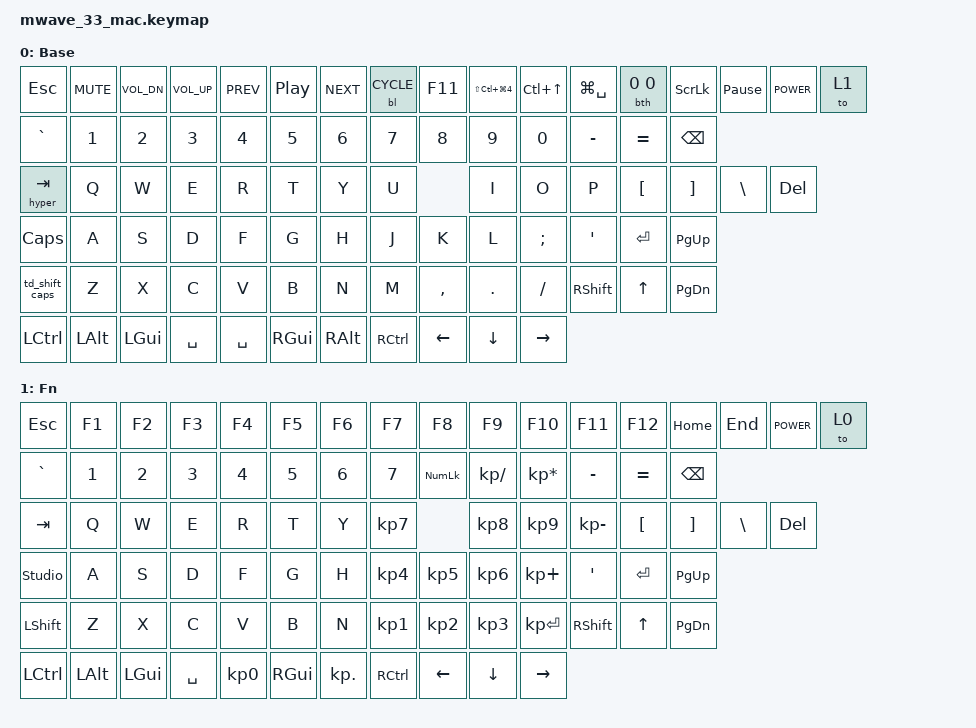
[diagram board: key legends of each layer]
#include <behaviors.dtsi>
#include <dt-bindings/zmk/backlight.h>
#include <dt-bindings/zmk/bt.h>
#include <dt-bindings/zmk/keys.h>
#include <dt-bindings/zmk/pointing.h>
#include <dt-bindings/zmk/outputs.h>
#include <dt-bindings/advertising_mode.h>
#include <behaviors/advertising_mode.dtsi>
#include <behaviors/stp_indicators.dtsi>
#include "studio-macros.dtsi"

/ {
    #include "mwave_prim.dtsi"

    macros {
        hyper: hyper_macro {
            compatible = "zmk,behavior-macro-one-param";
            #binding-cells = <1>;
            wait-ms = <0>;
            tap-ms = <0>;
            bindings =
                <&macro_press &kp LCTRL &kp LALT &kp LSHFT &kp LGUI>,
                <&macro_pause_for_release>,
                <&macro_release &kp LCTRL &kp LALT &kp LSHFT &kp LGUI>;
        };
    };

    behaviors {
        td_shift_caps: td_shift_caps {
            compatible = "zmk,behavior-tap-dance";
            #binding-cells = <0>;
            tapping-term-ms = <200>;
            bindings = <&sk LSHFT>, <&kp CLCK>;
        };

        ht_hyper: ht_hyper {
            compatible = "zmk,behavior-hold-tap";
            #binding-cells = <2>;
            tapping-term-ms = <200>;
            flavor = "balanced";
            bindings = <&hyper>, <&kp>;
        };
    };

    keymap {
        compatible = "zmk,keymap";

        default_layer {
            display-name = "Base";

            // -------------------------------------------------------------------------------------------------------
            // | ESC | F1  | F2  | F3  | F4  | F5  | F6  | | F7  | F8  | F9  | F10 | F11 | F12 |HOME| END |PSCN|  1  |
            // |GRAVE|  1  |  2  |  3  |  4  |  5  |  6  | |   7   |  8  |  9  |  0  |  -  |  =  |    BKSP     | DEL |
            // | TAB    |  Q  |  W  |  E  |  R  |   T    | |   Y  |  U  |  I  |  O  |  P  |  [  |  ]  |   \    |     |
            // | CAPS     |  A  |  S  |  D  |  F  |  G   | |  H    |  J  |  K  |  L  |  ;  |  '  |    ENTER    | PGUP|
            // |   SHIFT   |  Z  |  X  |  C  |  V  |  B  | |    N    |  M  |  ,  |  .  |  /  |   SHIFT   | UP  | PGDN|
            // |  CTL  |  WIN  |  ALT  |      SPACE      | |      SPACE        | ALT | MENU |RCTRL| LEFT| DOWN |RIGHT|
            // -------------------------------------------------------------------------------------------------------

            bindings = <
&kp ESC    &kp C_MUTE    &kp C_VOL_DN  &kp C_VOL_UP  &kp C_PREV  &kp C_PP       &kp C_NEXT     &bl BL_CYCLE  &kp F11    &kp LS(LC(LG(NUMBER_4)))  &kp LC(UP_ARROW)  &kp LG(SPACE)  &bth 0 0    &kp SCROLLLOCK  &kp PAUSE_BREAK  &kp K_POWER  &to 1
&kp GRAVE  &kp N1        &kp N2        &kp N3        &kp N4      &kp N5         &kp N6         &kp N7        &kp N8     &kp N9                    &kp N0            &kp MINUS      &kp EQUAL   &kp BSPC
&ht_hyper 0 TAB  &kp Q         &kp W         &kp E         &kp R       &kp T          &kp Y          &kp U         &kp I      &kp O                     &kp P             &kp LBKT       &kp RBKT    &kp BSLH        &kp DEL
&kp CLCK   &kp A         &kp S         &kp D         &kp F       &kp G          &kp H          &kp J         &kp K      &kp L                     &kp SEMI          &kp SQT        &kp RET     &kp PG_UP
&td_shift_caps  &kp Z         &kp X         &kp C         &kp V       &kp B          &kp N          &kp M         &kp COMMA  &kp DOT                   &kp FSLH          &kp RSHFT      &kp UP      &kp PG_DN
&kp LCTRL  &kp LEFT_ALT  &kp LEFT_GUI  &kp SPACE     &kp SPACE   &kp RIGHT_GUI  &kp RIGHT_ALT  &kp RCTRL     &kp LEFT   &kp DOWN                  &kp RIGHT
            >;
        };

        raise {
            display-name = "Fn";
            bindings = <
&kp ESCAPE      &kp F1       &kp F2         &kp F3     &kp F4      &kp F5          &kp F6      &kp F7     &kp F8       &kp F9         &kp F10          &kp F11          &kp F12    &kp HOME       &kp END     &kp K_POWER  &to 0
&kp GRAVE       &kp N1       &kp N2         &kp N3     &kp N4      &kp N5          &kp N6      &kp N7     &kp KP_NLCK  &kp KP_DIVIDE  &kp KP_MULTIPLY  &kp MINUS        &kp EQUAL  &kp BACKSPACE
&kp TAB         &kp Q        &kp W          &kp E      &kp R       &kp T           &kp Y       &kp KP_N7  &kp KP_N8    &kp KP_N9      &kp KP_MINUS     &kp LBKT       &kp RBKT    &kp BSLH    &kp DELETE
&studio_unlock  &kp A        &kp S          &kp D      &kp F       &kp G           &kp H       &kp KP_N4  &kp KP_N5    &kp KP_N6      &kp KP_PLUS      &kp SQT          &kp ENTER  &kp PAGE_UP
&kp LEFT_SHIFT  &kp Z        &kp X          &kp C      &kp V       &kp B           &kp N       &kp KP_N1  &kp KP_N2    &kp KP_N3      &kp KP_ENTER     &kp RIGHT_SHIFT  &kp UP     &kp PAGE_DOWN
&kp LCTRL       &kp LEFT_ALT &kp LEFT_GUI   &kp SPACE  &kp KP_N0   &kp RIGHT_GUI   &kp KP_DOT  &kp RCTRL  &kp LEFT     &kp DOWN       &kp RIGHT
            >;
        };

        extra1 {
            display-name = "Blue";
            status = "reserved";
        };

        extra2 {
            display-name = "Green";
            status = "reserved";
        };

        extra3 {
            display-name = "Red";
            status = "reserved";
        };

        extra4 {
            display-name = "Purple";
            status = "reserved";
        };

        extra5 {
            display-name = "Cyan";
            status = "reserved";
        };

        extra6 {
            display-name = "Yellow";
            status = "reserved";
        };
    };
};
